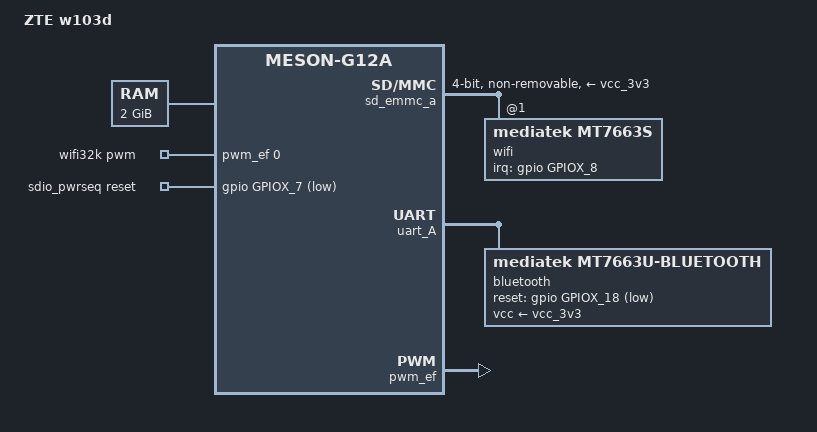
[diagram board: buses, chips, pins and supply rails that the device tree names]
// SPDX-License-Identifier: (GPL-2.0+ OR MIT)
/*
 * Copyright (c) 2018 Amlogic, Inc. All rights reserved.
 * Copyright (c) 2026 ZTE w103d
 */

/dts-v1/;

#include "meson-g12a-u200.dts"

/ {
	model = "ZTE w103d";
	compatible = "zte,w103d", "amlogic,g12a";

	memory@0 {
		device_type = "memory";
		reg = <0x0 0x0 0x0 0x80000000>;
	};

	/* 1. Generate standard 32.768kHz clock for WiFi/BT via PWM_E channel */
	wifi32k: wifi32k {
		compatible = "pwm-clock";
		#clock-cells = <0>;
		clock-frequency = <32768>;
		pwms = <&pwm_ef 0 30518 0>; /* period: 1s / 32768Hz = 30518 ns */
	};

	/* 2. Define power reset sequence for WiFi (pull up GPIOX_7 before SDIO scan) */
	sdio_pwrseq: sdio-pwrseq {
		compatible = "mmc-pwrseq-simple";
		reset-gpios = <&gpio GPIOX_7 GPIO_ACTIVE_LOW>;
		clocks = <&wifi32k>;
		clock-names = "ext_clock";
	};
};

/* 3. Enable and configure SDIO interface for WiFi */
&sd_emmc_a {
	status = "okay";
	pinctrl-0 = <&sdio_pins>;
	pinctrl-1 = <&sdio_clk_gate_pins>;
	pinctrl-names = "default", "clk-gate";
	#address-cells = <1>;
	#size-cells = <0>;

	bus-width = <4>;
	cap-sd-highspeed;
	sd-uhs-sdr50;
	max-frequency = <100000000>;
	non-removable;
	disable-wp;

	/* Keep power during suspend to allow WiFi wake up */
	keep-power-in-suspend;

	/* Associate power reset sequence controller */
	mmc-pwrseq = <&sdio_pwrseq>;

	vmmc-supply = <&vcc_3v3>;
	vqmmc-supply = <&vcc_1v8>;

	/* WiFi driver child node */
	wifi@1 {
		compatible = "mediatek,mt7663s", "mediatek,mt7661s";
		reg = <1>;
		/* Out-of-band wake/interrupt pin for WiFi */
		interrupt-parent = <&gpio>;
		interrupts = <GPIOX_8 IRQ_TYPE_LEVEL_LOW>;
		interrupt-names = "host-wake";
	};
};

/* 4. Enable and configure UART_A interface for Bluetooth connection */
&uart_A {
	status = "okay";
	pinctrl-0 = <&uart_a_pins>, <&uart_a_cts_rts_pins>;
	pinctrl-names = "default";
	uart-has-rtscts; /* Hardware flow control */

	/* Bluetooth driver child node */
	bluetooth {
		compatible = "mediatek,mt7663u-bluetooth", "mediatek,mt7668u-bluetooth";
		/* Reset/Enable pin for BT: GPIOX_18 */
		reset-gpios = <&gpio GPIOX_18 GPIO_ACTIVE_LOW>;
		vcc-supply = <&vcc_3v3>;
	};
};

/* 5. Enable PWMEE_EF controller for outputting 32kHz clock */
&pwm_ef {
	status = "okay";
	pinctrl-0 = <&pwm_e_pins>;
	pinctrl-names = "default";
};
